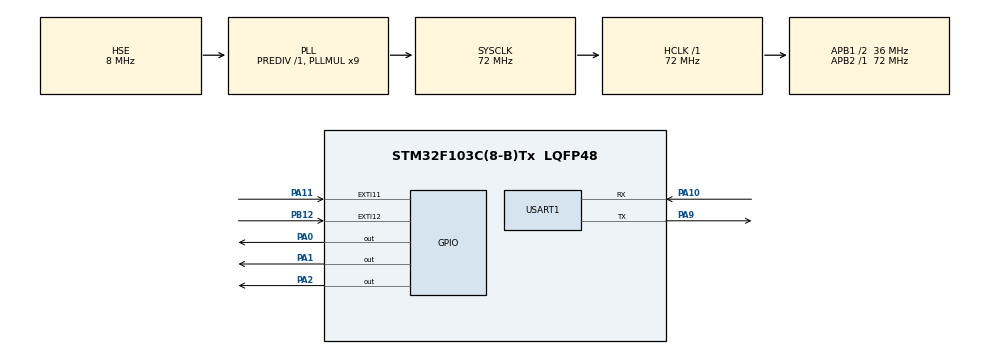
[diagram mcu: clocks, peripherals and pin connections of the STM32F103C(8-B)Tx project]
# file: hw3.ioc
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Mcu.Family=STM32F1
Mcu.Name=STM32F103C(8-B)Tx
Mcu.Package=LQFP48
NVIC.EXTI15_10_IRQn=true\:0\:0\:false\:false\:true\:true\:true\:true
NVIC.PriorityGroup=NVIC_PRIORITYGROUP_4
NVIC.USART1_IRQn=true\:0\:0\:false\:false\:true\:true\:true\:true
PA0-WKUP.Signal=GPIO_Output
PA1.Signal=GPIO_Output
PA10.Mode=Asynchronous
PA10.Signal=USART1_RX
PA11.GPIO_ModeDefaultEXTI=GPIO_MODE_IT_FALLING
PA11.GPIO_PuPd=GPIO_PULLUP
PA11.Signal=GPXTI11
PA13.Mode=Serial_Wire
PA13.Signal=SYS_JTMS-SWDIO
PA14.Mode=Serial_Wire
PA14.Signal=SYS_JTCK-SWCLK
PA2.Signal=GPIO_Output
PA9.Mode=Asynchronous
PA9.Signal=USART1_TX
PB12.GPIO_ModeDefaultEXTI=GPIO_MODE_IT_FALLING
PB12.GPIO_PuPd=GPIO_PULLUP
PB12.Signal=GPXTI12
PD0-OSC_IN.Mode=HSE-External-Oscillator
PD0-OSC_IN.Signal=RCC_OSC_IN
PD1-OSC_OUT.Mode=HSE-External-Oscillator
PD1-OSC_OUT.Signal=RCC_OSC_OUT
ProjectManager.HeapSize=0x200
ProjectManager.StackSize=0x400
ProjectManager.TargetToolchain=STM32CubeIDE
RCC.AHBFreq_Value=72000000
RCC.APB1CLKDivider=RCC_HCLK_DIV2
RCC.APB1Freq_Value=36000000
RCC.APB1TimFreq_Value=72000000
RCC.APB2Freq_Value=72000000
RCC.APB2TimFreq_Value=72000000
RCC.HCLKFreq_Value=72000000
RCC.PLLMUL=RCC_PLL_MUL9
RCC.PLLSourceVirtual=RCC_PLLSOURCE_HSE
RCC.SYSCLKFreq_VALUE=72000000
RCC.SYSCLKSource=RCC_SYSCLKSOURCE_PLLCLK
RCC.USBFreq_Value=72000000
USART1.VirtualMode=VM_ASYNC
board=custom

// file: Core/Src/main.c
/* USER CODE BEGIN Header */
/**
  ******************************************************************************
  * @file           : main.c
  * @brief          : Main program body
  ******************************************************************************
  * @attention
  *
  * Copyright (c) 2026 STMicroelectronics.
  * All rights reserved.
  *
  * This software is licensed under terms that can be found in the LICENSE file
  * in the root directory of this software component.
  * If no LICENSE file comes with this software, it is provided AS-IS.
  *
  ******************************************************************************
  */
/* USER CODE END Header */
#include "main.h"
#include "usart.h"
#include "gpio.h"

/* USER CODE BEGIN Includes */
#include "app.h"
#include "led.h"
#include "key.h"
#include "packet.h"
#include "feedback.h"
#include "oled_view.h"
#include <stdio.h>

/* USER CODE END Includes */

/* USER CODE BEGIN PD */
/* 临时调试开关：1 = 按键接线自检模式（按住按键看灯），验证完改回 0 */
#define KEY_DEBUG 0
/* USER CODE END PD */

/* USER CODE BEGIN PV */
static uint8_t  rx_byte;          /* 串口中断一次收一个字节，放这里 */
static uint32_t s_last_shift;     /* 流水灯上次切换的时刻 */

/* USER CODE END PV */

void SystemClock_Config(void);

int main(void)
{

  /* MCU Configuration--------------------------------------------------------*/

  /* Reset of all peripherals, Initializes the Flash interface and the Systick. */
  HAL_Init();

  /* Configure the system clock */
  SystemClock_Config();

  /* Initialize all configured peripherals */
  MX_GPIO_Init();
  MX_USART1_UART_Init();
  /* USER CODE BEGIN 2 */
  App_Init();                   /* 内含 LED_Init + 点亮第 1 颗 */
  Key_Init();
  Packet_Init();
  FB_Init();
  Oled_Init();
  s_last_shift = HAL_GetTick();

  /* 启动串口中断接收，长度 1 字节。每收 1 字节进一次 RxCpltCallback */
  HAL_UART_Receive_IT(&huart1, &rx_byte, 1);

  /* 上电先反馈一次当前状态 */
  FB_MarkDirty();

  /* USER CODE END 2 */

  /* Infinite loop */
  while (1)
  {

    /* USER CODE BEGIN 3 */

#if KEY_DEBUG
    /* ===== 临时调试：按住按键看灯，验证按键接线是否通 =====
       按住 按键1(PA11) -> LED1 亮
       按住 按键2(PB12) -> LED3 亮
       都不按           -> 全灭
       一直亮着某颗     -> 引脚被永久拉低（两脚都接了 GND / 按键短路）
       一直全灭         -> 按键没把引脚拉低（没接上 / 接到了 + 电源 / 按键坏）
    */
    {
        uint8_t k1 = (HAL_GPIO_ReadPin(GPIOA, GPIO_PIN_11) == GPIO_PIN_RESET) ? 1 : 0;
        uint8_t k2 = (HAL_GPIO_ReadPin(GPIOB, GPIO_PIN_12) == GPIO_PIN_RESET) ? 1 : 0;

        if (k1)      { LED_Show(0); }
        else if (k2) { LED_Show(2); }
        else         { LED_Off(); }

        HAL_Delay(20);
        continue;
    }
#endif

    uint32_t now = HAL_GetTick();

    /* 1. 按键事件：只处理事件标志，这里不做任何阻塞 */
    if (Key_TakeEvent(KEY_DIR))
    {
      App_ToggleDir();
    }
    if (Key_TakeEvent(KEY_PAUSE))
    {
      App_ToggleRun();
    }

    /* 2. 串口数据包：收满一包才处理；帧头/校验/范围任一不对就不执行 */
    {
      Packet_t pkt;
      if (Packet_TryTake(&pkt))
      {
        uint16_t step = (uint16_t)(pkt.step_l | ((uint16_t)pkt.step_h << 8));
        if (pkt.head == PKT_HEAD &&
            Packet_Check(&pkt) &&
            pkt.run <= 1 &&
            pkt.dir <= 1 &&
            step >= STEP_MIN && step <= STEP_MAX)
        {
          App_Apply(pkt.run, pkt.dir, step);
        }
      }
    }

    /* 3. 流水灯节拍：用时间戳比较，不用 HAL_Delay，主循环永远不阻塞 */
    if (g_app.run)
    {
      if ((now - s_last_shift) >= g_app.step_ms)
      {
        s_last_shift = now;
        g_app.led    = LED_Next(g_app.led, g_app.dir);
        LED_Show(g_app.led);
        Oled_Refresh(1);      /* 屏幕上的 LED 编号要跟着变；串口不要求每次切灯都发 */
      }
    }
    else
    {
      s_last_shift = now;       /* 暂停时持续对齐，恢复后不会立刻乱跳 */
    }

    /* 4. 状态有变化 → 刷新灯 + 刷屏 + 标记要发反馈 */
    if (App_TakeChanged())
    {
      LED_Show(g_app.led);
      Oled_Refresh(1);
      FB_MarkDirty();
    }

    /* 5. 串口反馈：空闲时才启动发送 */
    FB_Poll();
  }
  /* USER CODE END 3 */
}

void SystemClock_Config(void)
{
  RCC_OscInitTypeDef RCC_OscInitStruct = {0};
  RCC_ClkInitTypeDef RCC_ClkInitStruct = {0};

  /** Initializes the RCC Oscillators according to the specified parameters
  * in the RCC_OscInitTypeDef structure.
  */
  RCC_OscInitStruct.OscillatorType = RCC_OSCILLATORTYPE_HSE;
  RCC_OscInitStruct.HSEState = RCC_HSE_ON;
  RCC_OscInitStruct.HSEPredivValue = RCC_HSE_PREDIV_DIV1;
  RCC_OscInitStruct.HSIState = RCC_HSI_ON;
  RCC_OscInitStruct.PLL.PLLState = RCC_PLL_ON;
  RCC_OscInitStruct.PLL.PLLSource = RCC_PLLSOURCE_HSE;
  RCC_OscInitStruct.PLL.PLLMUL = RCC_PLL_MUL9;
  if (HAL_RCC_OscConfig(&RCC_OscInitStruct) != HAL_OK)
  {
    Error_Handler();
  }

  /** Initializes the CPU, AHB and APB buses clocks
  */
  RCC_ClkInitStruct.ClockType = RCC_CLOCKTYPE_HCLK|RCC_CLOCKTYPE_SYSCLK
                              |RCC_CLOCKTYPE_PCLK1|RCC_CLOCKTYPE_PCLK2;
  RCC_ClkInitStruct.SYSCLKSource = RCC_SYSCLKSOURCE_PLLCLK;
  RCC_ClkInitStruct.AHBCLKDivider = RCC_SYSCLK_DIV1;
  RCC_ClkInitStruct.APB1CLKDivider = RCC_HCLK_DIV2;
  RCC_ClkInitStruct.APB2CLKDivider = RCC_HCLK_DIV1;

  if (HAL_RCC_ClockConfig(&RCC_ClkInitStruct, FLASH_LATENCY_2) != HAL_OK)
  {
    Error_Handler();
  }
}

/* USER CODE BEGIN 4 */
/* 按键：PA11 / PB12 都是外部中断 */
void HAL_GPIO_EXTI_Callback(uint16_t GPIO_Pin)
{
  Key_OnExti(GPIO_Pin);
}

/* 串口收满 1 字节 */
void HAL_UART_RxCpltCallback(UART_HandleTypeDef *huart)
{
  if (huart->Instance == USART1)
  {
    Packet_OnByte(rx_byte);
    HAL_UART_Receive_IT(&huart1, &rx_byte, 1);   /* 必须重新开启，否则只收一次 */
  }
}

/* 串口发送完成 */
void HAL_UART_TxCpltCallback(UART_HandleTypeDef *huart)
{
  if (huart->Instance == USART1)
  {
    FB_OnTxDone();
  }
}
/* USER CODE END 4 */

void Error_Handler(void)
{
  __disable_irq();
  while (1)
  {
  }
}
